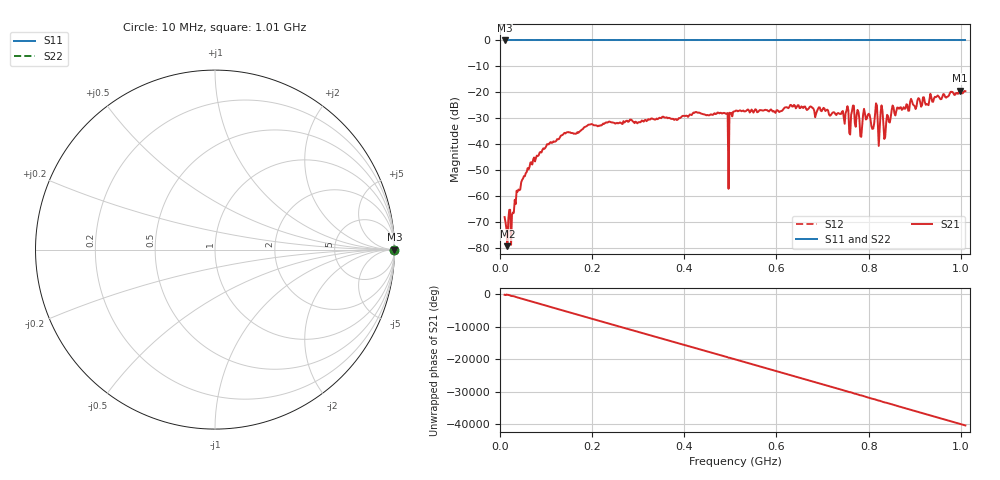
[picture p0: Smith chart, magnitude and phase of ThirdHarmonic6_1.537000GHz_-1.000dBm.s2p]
! 8/16/2025 6:13:12 PM
! C:\ANRITSUVNA\TEMP\TEMP.S2P
! CHANNEL.1
! TR.MEASUREMENT
! RAW.DATA
! RF.CORRECTION.OFF
! AVERAGING.OFF
! IF.BANDWIDTH: 5KHZ
! SWEEPTYPE:  FREQ.SWEEP(Linear)
! Reference Plane Port Info
! PORT:  PORT1  PORT2
! DISTANCE:  0  m  0  m
! TIME:  0  s  0  s
! PHASE.OFFSET:  0  deg.  0  deg.
! LOSS:  0  dB  0  dB
! REF.LOSS:  0  dB  0  dB
! REF.FREQ:  0  Hz  0  Hz
! Power Info
! POWER:  -20  dBm  -20  dBm
! EFF.POWER:  -20  dBm  -20  dBm
! SOURCE.ATTEN:  0  dB  0  dB
! TEST.ATTEN:  0  dB  0  dB
# GHZ S RI R 50.0
! FREQ.GHZ  S11RE  S11IM  S21RE  S21IM  S12RE  S12IM  S22RE  S22IM
!; PortSelection: Port_12
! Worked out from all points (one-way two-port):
!   501 points, 10 MHz to 1.01 GHz, reference 50 ohm
!   highest |S21| = -19.29 dB at 998 MHz (marker M1); lowest = -79.3 dB at 16 MHz (marker M2)
!   lowest |S11| = 0.0 dB at 10 MHz (marker M3)
!   |S11| at or under -10 dB: nowhere
!   |S22| runs from 0.0 to 0.0 dB; largest |S21 - S12| = 1.1
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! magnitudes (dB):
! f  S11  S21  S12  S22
! 10 MHz  0.0  -68.0  0.0  0.0
! 16 MHz  0.0  -79.3  0.0  0.0
! 70 MHz  0.0  -47.8  0.0  0.0
! 178 MHz  0.0  -34.3  0.0  0.0
! 344 MHz  0.0  -30.0  0.0  0.0
! 490 MHz  0.0  -28.2  0.0  0.0
! 492 MHz  0.0  -28.1  0.0  0.0
! 500 MHz  0.0  -28.1  0.0  0.0
! 502 MHz  0.0  -27.9  0.0  0.0
! 510 MHz  0.0  -27.3  0.0  0.0
! 678 MHz  0.0  -26.0  0.0  0.0
! 760 MHz  0.0  -36.2  0.0  0.0
! 766 MHz  0.0  -25.1  0.0  0.0
! 784 MHz  0.0  -37.1  0.0  0.0
! 792 MHz  0.0  -28.1  0.0  0.0
! 808 MHz  0.0  -34.1  0.0  0.0
! 828 MHz  0.0  -25.0  0.0  0.0
! 836 MHz  0.0  -37.2  0.0  0.0
! 844 MHz  0.0  -31.4  0.0  0.0
! 894 MHz  0.0  -23.4  0.0  0.0
! 998 MHz  0.0  -19.3  0.0  0.0
! 1.01 GHz  0.0  -19.6  0.0  0.0
